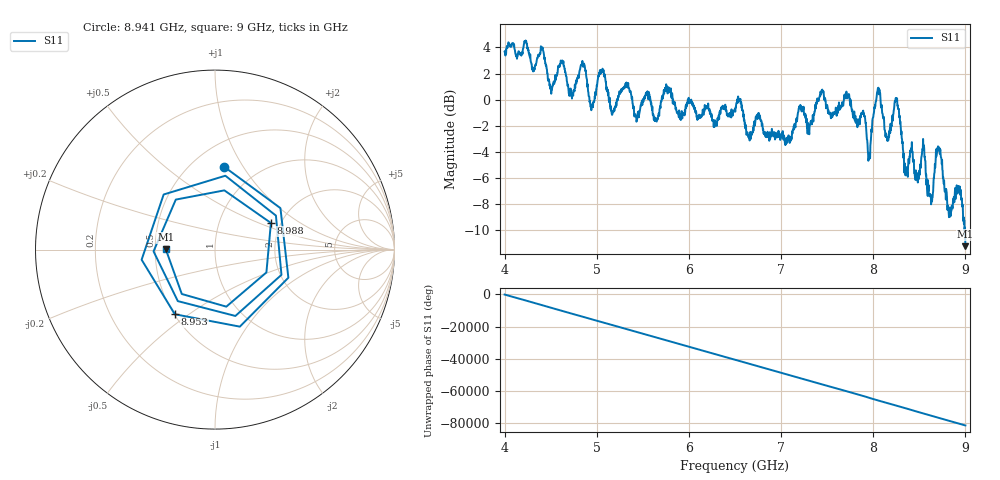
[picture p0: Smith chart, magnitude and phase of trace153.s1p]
! Created with skrf 1.8.0 (http://scikit-rf.org).
# Hz S RI R 50.0
!freq ReS11 ImS11
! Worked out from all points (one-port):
!   1601 points, 4 GHz to 9 GHz, reference 50 ohm
!   lowest |S11| = -11.2 dB at 9 GHz (marker M1), VSWR 1.76, Z = 28.5 + j0.145 ohm
!   |S11| at or under -10 dB: 8.990721 GHz to 8.991807 GHz (1.086 MHz wide, 0.0121 % of centre); 8.99552 GHz to end of sweep
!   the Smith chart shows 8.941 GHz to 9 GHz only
!   S11 on the Smith chart (normalised r, x): 8.941 GHz: 0.71, +0.83; 8.953 GHz: 0.50, -0.44; 8.988 GHz: 1.78, +0.60; 9 GHz: 0.57, +0.00
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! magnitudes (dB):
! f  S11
! 4 GHz  3.7
! 4.403 GHz  4.0
! 4.512 GHz  0.7
! 4.625 GHz  3.0
! 4.722 GHz  0.6
! 4.856 GHz  2.7
! 4.947 GHz  -0.6
! 5.05 GHz  2.2
! 5.169 GHz  -1.1
! 5.25 GHz  0.4
! 5.875 GHz  -1.0
! 6.5 GHz  -0.7
! 7.125 GHz  -2.6
! 7.438 GHz  0.5
! 7.75 GHz  0.0
! 7.953 GHz  -4.5
! 8.05 GHz  0.9
! 8.147 GHz  -2.9
! 8.253 GHz  0.1
! 8.375 GHz  -5.9
! 8.544 GHz  -3.7
! 8.628 GHz  -8.0
! 8.706 GHz  -3.7
! 8.825 GHz  -8.9
! 8.941 GHz  -6.7
! 8.953 GHz  -7.5
! 8.988 GHz  -9.2
! 9 GHz  -11.2
